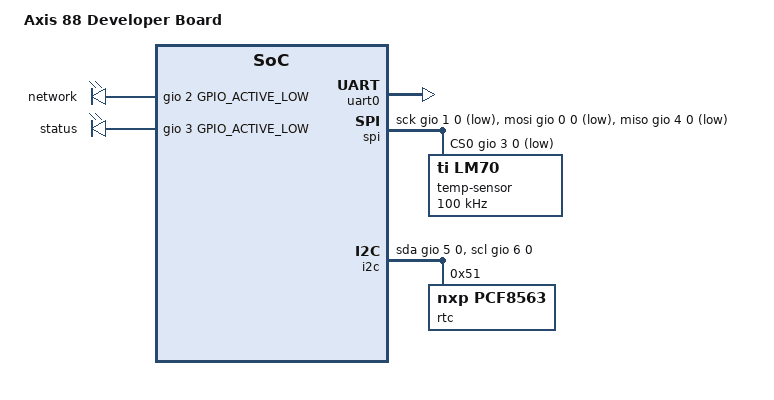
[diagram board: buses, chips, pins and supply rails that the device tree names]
// SPDX-License-Identifier: GPL-2.0
/dts-v1/;

#include <dt-bindings/gpio/gpio.h>

/include/ "etraxfs.dtsi"

/ {
	model = "Axis 88 Developer Board";
	compatible = "axis,dev88";

	aliases {
		serial0 = &uart0;
	};

	soc {
		uart0: serial@b00260000 {
			status = "okay";
		};
	};

	spi {
		compatible = "spi-gpio";
		#address-cells = <1>;
		#size-cells = <0>;

		gpio-sck = <&gio 1 0 0xd>;
		gpio-miso = <&gio 4 0 0xd>;
		gpio-mosi = <&gio 0 0 0xd>;
		cs-gpios = <&gio 3 0 0xd>;
		num-chipselects = <1>;

		temp-sensor@0 {
			compatible = "ti,lm70";
			reg = <0>;

			spi-max-frequency = <100000>;
		};
	};

	i2c {
		compatible = "i2c-gpio";
		gpios = <&gio 5 0 0xd>, <&gio 6 0 0xd>;
		i2c-gpio,delay-us = <2>;
		#address-cells = <1>;
		#size-cells = <0>;

		rtc@51 {
			compatible = "nxp,pcf8563";
			reg = <0x51>;
		};
	};

	leds {
		compatible = "gpio-leds";

		network {
			label = "network";
			gpios = <&gio 2 GPIO_ACTIVE_LOW 0xa>;
		};

		status {
			label = "status";
			gpios = <&gio 3 GPIO_ACTIVE_LOW 0xa>;
			linux,default-trigger = "heartbeat";
		};
	};
};
